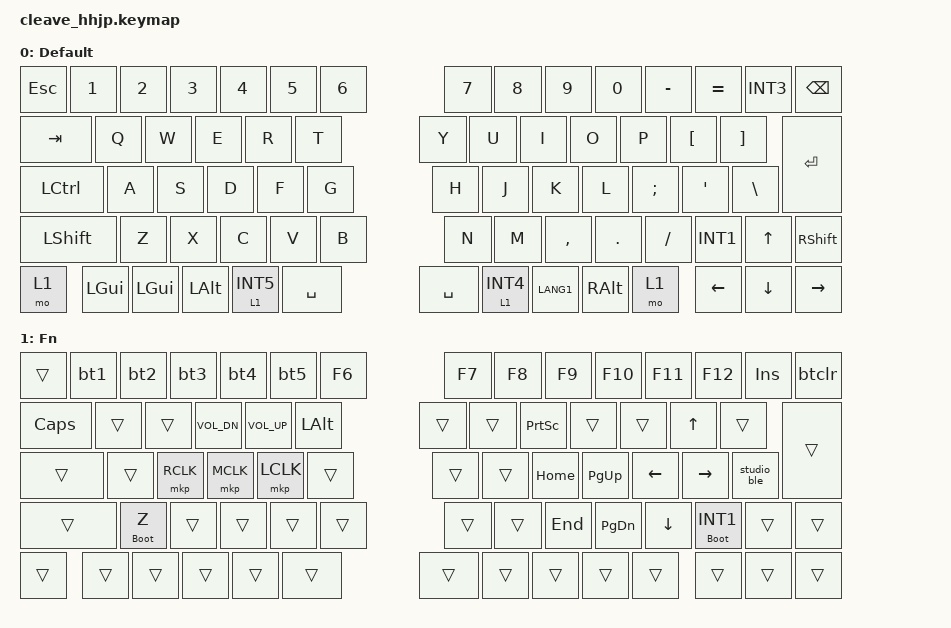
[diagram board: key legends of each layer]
/*
 * Copyright (c) 2025
 * SPDX-License-Identifier: MIT
 */

#include <behaviors.dtsi>
#include <behaviors/runtime_macro.dtsi>
#include <dt-bindings/zmk/keys.h>
#include <dt-bindings/zmk/bt.h>
#include <dt-bindings/zmk/pointing.h>
/* Language keys: tap for language selection, hold for Fn. */
&lt {
	tapping-term-ms = <200>;
	flavor = "tap-preferred";
};

/ {
	behaviors {
		studio_ble: studio_ble_discovery {
			compatible = "cleave,behavior-studio-ble-discovery";
			#binding-cells = <0>;
			display-name = "Studio BLE Discovery";
		};
		boot_hold: boot_hold {
			compatible = "zmk,behavior-hold-tap";
			#binding-cells = <2>;
			display-name = "Hold Bootloader";
			flavor = "tap-preferred";
			tapping-term-ms = <2000>;
			bindings = <&bootloader>, <&kp>;
		};
		bt1: bluetooth_morph_1 {
			compatible = "zmk,behavior-mod-morph";
			label = "BT_MORPH_1";
			#binding-cells = <0>;
			bindings = <&kp F1>, <&bt BT_SEL 0>;
			mods = <(MOD_LCTL|MOD_RCTL)>;
		};
		bt2: bluetooth_morph_2 {
			compatible = "zmk,behavior-mod-morph";
			label = "BT_MORPH_2";
			#binding-cells = <0>;
			bindings = <&kp F2>, <&bt BT_SEL 1>;
			mods = <(MOD_LCTL|MOD_RCTL)>;
		};
		bt3: bluetooth_morph_3 {
			compatible = "zmk,behavior-mod-morph";
			label = "BT_MORPH_3";
			#binding-cells = <0>;
			bindings = <&kp F3>, <&bt BT_SEL 2>;
			mods = <(MOD_LCTL|MOD_RCTL)>;
		};
		bt4: bluetooth_morph_4 {
			compatible = "zmk,behavior-mod-morph";
			label = "BT_MORPH_4";
			#binding-cells = <0>;
			bindings = <&kp F4>, <&bt BT_SEL 3>;
			mods = <(MOD_LCTL|MOD_RCTL)>;
		};
		bt5: bluetooth_morph_5 {
			compatible = "zmk,behavior-mod-morph";
			label = "BT_MORPH_5";
			#binding-cells = <0>;
			bindings = <&kp F5>, <&bt BT_SEL 4>;
			mods = <(MOD_LCTL|MOD_RCTL)>;
		};
		btclr: bluetooth_clear_morph {
			compatible = "zmk,behavior-mod-morph";
			label = "BT_CLR_MORPH";
			#binding-cells = <0>;
			bindings = <&kp DEL>, <&bt BT_CLR>;
			mods = <(MOD_LCTL|MOD_RCTL)>;
		};
	};

	keymap {
		compatible = "zmk,keymap";

		default_layer {
			display-name = "Default";
			bindings = <
    &kp ESC  &kp N1   &kp N2   &kp N3   &kp N4   &kp N5   &kp N6                               &kp N7   &kp N8   &kp N9   &kp N0   &kp MINUS &kp EQUAL &kp INT3 &kp BSPC
    &kp TAB  &kp Q    &kp W    &kp E    &kp R    &kp T                                         &kp Y    &kp U    &kp I    &kp O    &kp P    &kp LBKT &kp RBKT &kp RET
    &kp LCTRL &kp A   &kp S    &kp D    &kp F    &kp G                                         &kp H    &kp J    &kp K    &kp L    &kp SEMI &kp SQT  &kp BSLH
    &kp LSHFT &kp Z   &kp X    &kp C    &kp V    &kp B                                         &kp N    &kp M    &kp COMMA &kp DOT &kp FSLH &kp INT1 &kp UP  &kp RSHFT
    &mo 1    &kp LGUI &kp LGUI &kp LALT &lt 1 INT5 &kp SPACE                                    &kp SPACE &lt 1 INT4 &kp LANG1 &kp RALT &mo 1   &kp LEFT &kp DOWN &kp RIGHT
			>;
		};

		fn_layer {
			display-name = "Fn";
			bindings = <
    &trans &bt1 &bt2 &bt3 &bt4 &bt5 &kp F6 &kp F7 &kp F8 &kp F9 &kp F10 &kp F11 &kp F12 &kp INS &btclr
    &kp CAPS &trans &trans &kp C_VOL_DN &kp C_VOL_UP &kp LALT &trans &trans &kp PSCRN &trans &trans &kp UP &trans &trans
    &trans &trans &mkp RCLK &mkp MCLK &mkp LCLK &trans &trans &trans &kp HOME &kp PG_UP &kp LEFT &kp RIGHT &studio_ble
    &trans &boot_hold 0 Z &trans &trans &trans &trans &trans &trans &kp END &kp PG_DN &kp DOWN &boot_hold 0 INT1 &trans &trans
    &trans &trans &trans &trans &trans &trans &trans &trans &trans &trans &trans &trans &trans &trans
			>;
		};


		/* Reserved Studio capacity; inactive until a layer is added in Studio.
		 * Keep stable IDs 0 (Default) and 1 (Fn), including saved bindings. */
		host_slot_1 {
			status = "disabled";
			display-name = "Host 1";
			bindings = <
                &trans &trans &trans &trans &trans &trans &trans &trans &trans &trans &trans &trans &trans &trans
                &trans &trans &trans &trans &trans &trans &trans &trans &trans &trans &trans &trans &trans &trans
                &trans &trans &trans &trans &trans &trans &trans &trans &trans &trans &trans &trans &trans &trans
                &trans &trans &trans &trans &trans &trans &trans &trans &trans &trans &trans &trans &trans &trans
                &trans &trans &trans &trans &trans &trans &trans &trans &trans &trans &trans &trans &trans &trans
			>;
		};
		host_slot_2 {
			status = "disabled";
			display-name = "Host 2";
			bindings = <
                &trans &trans &trans &trans &trans &trans &trans &trans &trans &trans &trans &trans &trans &trans
                &trans &trans &trans &trans &trans &trans &trans &trans &trans &trans &trans &trans &trans &trans
                &trans &trans &trans &trans &trans &trans &trans &trans &trans &trans &trans &trans &trans &trans
                &trans &trans &trans &trans &trans &trans &trans &trans &trans &trans &trans &trans &trans &trans
                &trans &trans &trans &trans &trans &trans &trans &trans &trans &trans &trans &trans &trans &trans
			>;
		};
		host_slot_3 {
			status = "disabled";
			display-name = "Host 3";
			bindings = <
                &trans &trans &trans &trans &trans &trans &trans &trans &trans &trans &trans &trans &trans &trans
                &trans &trans &trans &trans &trans &trans &trans &trans &trans &trans &trans &trans &trans &trans
                &trans &trans &trans &trans &trans &trans &trans &trans &trans &trans &trans &trans &trans &trans
                &trans &trans &trans &trans &trans &trans &trans &trans &trans &trans &trans &trans &trans &trans
                &trans &trans &trans &trans &trans &trans &trans &trans &trans &trans &trans &trans &trans &trans
			>;
		};
		host_slot_4 {
			status = "disabled";
			display-name = "Host 4";
			bindings = <
                &trans &trans &trans &trans &trans &trans &trans &trans &trans &trans &trans &trans &trans &trans
                &trans &trans &trans &trans &trans &trans &trans &trans &trans &trans &trans &trans &trans &trans
                &trans &trans &trans &trans &trans &trans &trans &trans &trans &trans &trans &trans &trans &trans
                &trans &trans &trans &trans &trans &trans &trans &trans &trans &trans &trans &trans &trans &trans
                &trans &trans &trans &trans &trans &trans &trans &trans &trans &trans &trans &trans &trans &trans
			>;
		};

	};
};
